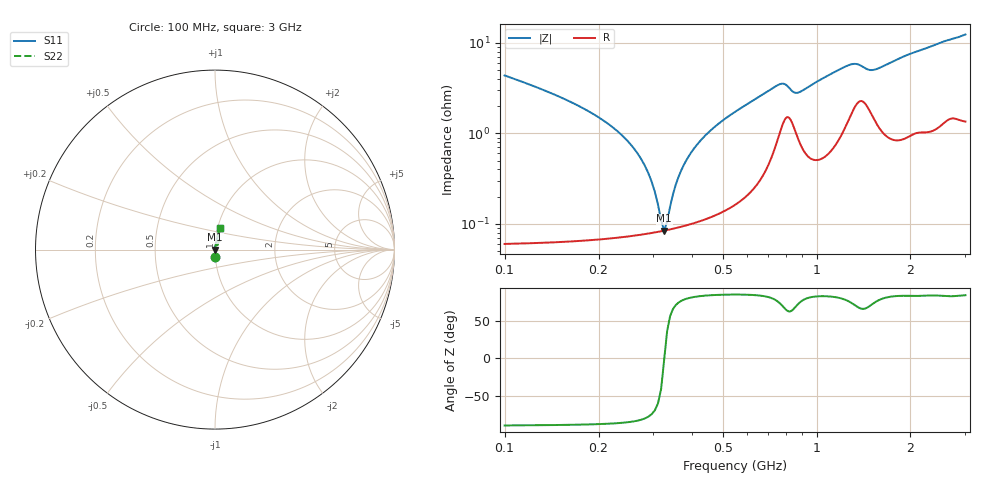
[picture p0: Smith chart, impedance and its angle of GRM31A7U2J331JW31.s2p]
!Murata Part Number: GRM31A7U2J331JW31
!These Parameters are Measured in Series Mode Connection
!Data Generated on Mar 30, 2021
!  o--ll--o
!Port1  Port2
!  o------o
!Operation Temp=25[degC], DC Bias Voltage=0[V]
!Freq. Start=100[MHz] Stop=3[GHz] 401[Steps]
# Hz S RI R 50
!Freq.(Hz) S11(Real) S11(Imag) S21(Real) S21(Imag) S12(Real) S12(Imag) S22(Real) S22(Imag)
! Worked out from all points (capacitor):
!   401 points, 100 MHz to 3 GHz, reference 50 ohm
!   read as one part in series: C = 329 pF near 114.5 MHz
!   lowest |Z| = 84.2 mohm at 324.8 MHz (marker M1)
!   series resonance near 325.1 MHz, so ESL is about 730 pH
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1e8  0.0025 -0.0436  0.9975 0.0436  0.9975 0.0436  0.0025 -0.0436
2.015e8  0.000892 -0.0148  0.9991 0.0148  0.9991 0.0148  0.000892 -0.0148
2.5225e8  0.000788 -0.00767  0.9992 0.00767  0.9992 0.00767  0.000788 -0.00767
2.8125e8  0.000789 -0.00436  0.9992 0.00436  0.9992 0.00436  0.000789 -0.00436
2.9575e8  0.0008 -0.00284  0.9992 0.00284  0.9992 0.00284  0.0008 -0.00284
3.1025e8  0.000817 -0.00141  0.9992 0.00141  0.9992 0.00141  0.000817 -0.00141
3.2475e8  0.000841 -3.28e-05  0.9992 3.28e-05  0.9992 3.28e-05  0.000841 -3.28e-05
3.32e8  0.000855 0.000633  0.9991 -0.000633  0.9991 -0.000633  0.000855 0.000633
3.3925e8  0.00087 0.00128  0.9991 -0.00128  0.9991 -0.00128  0.00087 0.00128
3.5375e8  0.000904 0.00255  0.9991 -0.00255  0.9991 -0.00255  0.000904 0.00255
3.6825e8  0.000943 0.00378  0.9991 -0.00378  0.9991 -0.00378  0.000943 0.00378
4.1175e8  0.00109 0.00726  0.9989 -0.00726  0.9989 -0.00726  0.00109 0.00726
4.8425e8  0.00144 0.0126  0.9986 -0.0126  0.9986 -0.0126  0.00144 0.0126
5.8575e8  0.00232 0.0199  0.9977 -0.0199  0.9977 -0.0199  0.00232 0.0199
7.5975e8  0.0108 0.0327  0.9892 -0.0327  0.9892 -0.0327  0.0108 0.0327
8.685e8  0.00972 0.0261  0.9903 -0.0261  0.9903 -0.0261  0.00972 0.0261
1.0715e9  0.00733 0.0415  0.9927 -0.0415  0.9927 -0.0415  0.00733 0.0415
1.3035e9  0.0201 0.0537  0.9799 -0.0537  0.9799 -0.0537  0.0201 0.0537
1.55e9  0.0153 0.0481  0.9847 -0.0481  0.9847 -0.0481  0.0153 0.0481
2.03575e9  0.0154 0.0752  0.9846 -0.0752  0.9846 -0.0752  0.0154 0.0752
2.5215e9  0.0221 0.0979  0.9779 -0.0979  0.9779 -0.0979  0.0221 0.0979
3e9  0.0278 0.1183  0.9722 -0.1183  0.9722 -0.1183  0.0278 0.1183
